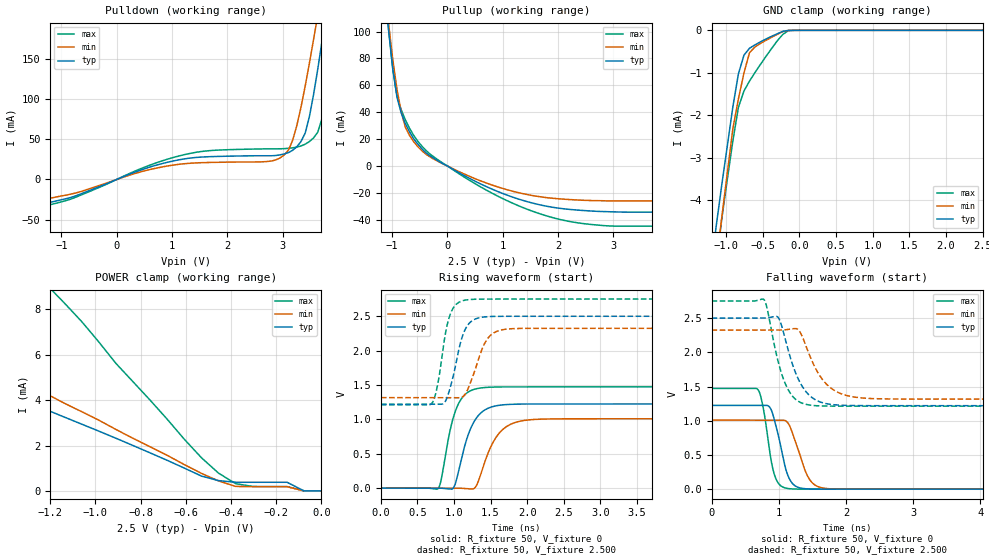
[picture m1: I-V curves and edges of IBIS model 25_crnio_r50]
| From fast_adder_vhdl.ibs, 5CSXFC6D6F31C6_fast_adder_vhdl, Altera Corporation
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[Model]   25_crnio_r50
Model_type  I/O
Polarity   Non-Inverting
Enable Active-Low
Vinl   = 0.700
Vinh   = 1.700
Vmeas  = 1.163
Rref   = 10M
Cref   = 0pF
Vref   = 0
C_comp 4.66pF   4.66pF   4.66pF
[Temperature Range] 25   85   0
[Voltage Range] 2.500   2.325   2.750
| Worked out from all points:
|   slope of the pulldown table from 0 to 0.375 V, typ, clamps not added: 36.5 ohm
|   slope of the pullup table from 0 to 0.375 V, typ, clamps not added: 43.2 ohm
|   GND clamp passes 1 mA (typ) near -0.83 V on its own axis
|   POWER clamp passes 1 mA (typ) near -0.61 V on its own axis
|   rising waveform, R_fixture 50, V_fixture 0: 20-80 % time 219ps typ, 259ps min, 186ps max; typ from 0 V to 1.23 V
|   falling waveform, R_fixture 50, V_fixture 0: 20-80 % time 176ps typ, 216ps min, 142ps max; typ from 1.23 V to 0 V
|   rising waveform, R_fixture 50, V_fixture 2.500: 20-80 % time 175ps typ, 209ps min, 143ps max; typ from 1.22 V to 2.5 V
|   falling waveform, R_fixture 50, V_fixture 2.500: 20-80 % time 284ps typ, 334ps min, 239ps max; typ from 2.5 V to 1.22 V
[GND Clamp]
| voltage   I (typ)   I (min)   I (max)
-2.5V     -25.38mA   -25.72mA   -28.14mA
-1.136V   -4.602mA   -5.468mA   -5.533mA
-1.061V   -3.635mA   -4.406mA   -4.435mA
-909.1mV  -1.798mA   -2.309mA   -2.6mA
-833.3mV  -1.022mA   -1.613mA   -1.811mA
-757.6mV  -584.1uA   -1.001mA   -1.426mA
-681.8mV  -421.4uA   -525.6uA   -1.194mA
-530.3mV  -269uA     -306.1uA   -796uA
-303mV    -80.61uA   -95.69uA   -246.7uA
-227.3mV  -23.88uA   -30.25uA   -96.37uA
-151.5mV  -2.012uA   -3.884uA   -6.485uA
2.5V      0A         0A         0A
[Pulldown]
| voltage   I (typ)   I (min)   I (max)
-2.5V     -53.2mA    -44.71mA   -57.56mA
1.136V    24.59mA    18.95mA    29.46mA
2.879V    29.9mA     24.41mA    38.18mA
3.182V    36.39mA    48.62mA    39.47mA
3.409V    57.76mA    116.4mA    43.94mA
3.561V    105.8mA    174.4mA    51.78mA
3.636V    137.4mA    204.5mA    58.94mA
3.712V    171.6mA    234.4mA    75.55mA
3.788V    207.2mA    263.6mA    100.6mA
3.939V    280mA      322.9mA    171.9mA
4.015V    316.3mA    353.6mA    212.3mA
5V        787.3mA    738.3mA    752.5mA
[POWER Clamp]
| voltage   I (typ)   I (min)   I (max)
-2.5V     8.703mA    11.15mA    26.46mA
-2.424V   8.389mA    10.62mA    25.51mA
-2.046V   6.87mA     8.533mA    20.31mA
-1.97V    6.569mA    8.224mA    19.24mA
-1.212V   3.556mA    4.25mA     9.041mA
-1.136V   3.248mA    3.858mA    8.267mA
-606.1mV  1.004mA    1.157mA    2.272mA
-454.6mV  453.2uA    439.6uA    780.7uA
-378.8mV  381.7uA    198uA      319.2uA
-151.5mV  381.7uA    185.9uA    192.1uA
-75.76mV  0A         0A         0A
0V        0A         0A         0A
[Pullup]
| voltage   I (typ)   I (min)   I (max)
-2.5V     796.3mA    683.7mA    896.8mA
-1.061V   100.7mA    105.5mA    101.7mA
-984.9mV  72.09mA    78.94mA    71.92mA
-909.1mV  51.05mA    56.96mA    52.03mA
-833.3mV  39.45mA    40.23mA    41.84mA
-757.6mV  31.43mA    28.82mA    34.25mA
-681.8mV  25.43mA    22.68mA    27.97mA
-378.8mV  9.616mA    8.508mA    11.32mA
454.6mV   -10.38mA   -8.66mA    -12.02mA
1.364V    -25.61mA   -20.61mA   -30.93mA
2.273V    -32.59mA   -25.17mA   -41.8mA
5V        -34.41mA   -26.07mA   -44.85mA
[Ramp]
dV/dt_r   7.347e-01/2.194e-10 6.055e-01/2.588e-10 8.839e-01/1.860e-10
dV/dt_f   7.678e-01/2.836e-10 6.051e-01/3.344e-10 9.222e-01/2.392e-10
R_load = 50ohms
[Rising Waveform]
R_fixture   = 50
V_fixture   = 0
V_fixture_min = 0
V_fixture_max = 0
| time   V (typ)   V (min)   V (max)
0s        1.012uV    5.108uV    2.195uV
785.7ps   135.3uV    5.327uV    -2.5mV
826ps     -921uV     5.594uV    130.5mV
973.7ps   -12.33mV   26uV       963.1mV
1.027ns   98.31mV    120.1uV    1.146V
1.175ns   717.7mV    -7.537mV   1.384V
1.316ns   1.035V     57.97mV    1.448V
1.585ns   1.199V     754.3mV    1.471V
1.934ns   1.223V     979.8mV    1.473V
6.709ns   1.225V     1.009V     1.473V
[Falling Waveform]
R_fixture   = 50
V_fixture   = 0
V_fixture_min = 0
V_fixture_max = 0
| time   V (typ)   V (min)   V (max)
0s        1.225V     1.009V     1.473V
690.3ps   1.225V     1.009V     1.456V
770.7ps   1.225V     1.009V     1.179V
864.6ps   1.199V     1.009V     555.5mV
931.6ps   1.026V     1.009V     224.6mV
1.113ns   267.3mV    992.6mV    13.86mV
1.227ns   61.36mV    754.4mV    2.363mV
1.441ns   3.434mV    171.2mV    78.39uV
1.669ns   154.6uV    14.72mV    4.168uV
6.695ns   480.8nV    5.392uV    2.154uV
[Rising Waveform]
R_fixture   = 50
V_fixture   = 2.500
V_fixture_min = 2.325
V_fixture_max = 2.750
| time   V (typ)   V (min)   V (max)
0s        1.22V      1.316V     1.213V
698.4ps   1.22V      1.316V     1.235V
772.2ps   1.22V      1.316V     1.484V
866.3ps   1.241V     1.316V     2.145V
933.4ps   1.408V     1.316V     2.482V
1.014ns   1.749V     1.316V     2.656V
1.142ns   2.283V     1.351V     2.732V
1.43ns    2.492V     2.127V     2.749V
1.679ns   2.499V     2.307V     2.75V
6.709ns   2.5V       2.325V     2.75V
[Falling Waveform]
R_fixture   = 50
V_fixture   = 2.500
V_fixture_min = 2.325
V_fixture_max = 2.750
| time   V (typ)   V (min)   V (max)
0s        2.5V       2.325V     2.75V
784.1ps   2.5V       2.325V     2.767V
985.2ps   2.517V     2.325V     1.889V
1.079ns   2.262V     2.327V     1.586V
1.28ns    1.633V     2.339V     1.292V
1.401ns   1.431V     2.106V     1.241V
1.548ns   1.305V     1.764V     1.221V
1.702ns   1.251V     1.544V     1.215V
2.124ns   1.222V     1.347V     1.213V
6.695ns   1.22V      1.316V     1.213V
